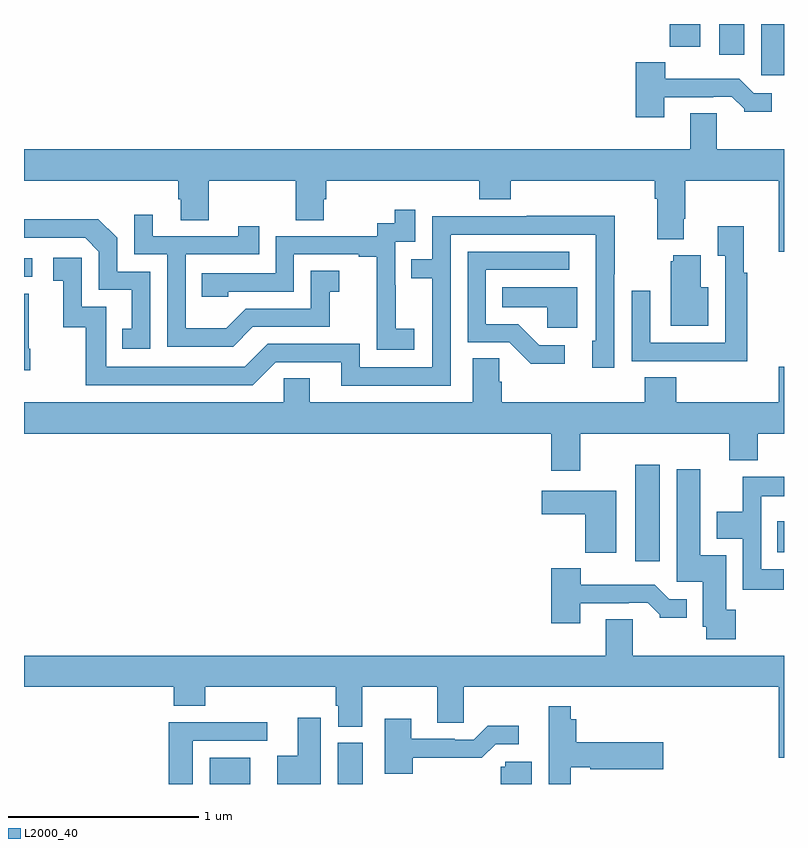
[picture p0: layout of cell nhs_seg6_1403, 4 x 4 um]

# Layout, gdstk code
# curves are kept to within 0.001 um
import gdstk
lib = gdstk.Library(unit=1e-6, precision=1e-09)
def R(c, l, rs):  # rectangles x0, y0, x1, y1
    for r in rs: c.add(gdstk.rectangle(r[:2], r[2:], *l))
def P(c, l, *ps):  # polygons
    for p in ps: c.add(gdstk.Polygon(p, *l))
L2000_40 = (2000, 40)

nhs_seg6_1403 = lib.new_cell('nhs_seg6_1403')
R(nhs_seg6_1403, L2000_40, [(197.978,937.5,198.19,937.639), (198.65,937.5,198.784,937.716), (200.216,938.673,200.347,939.181), (200.965,938.72,201,938.884), (197,940.17,197.044,940.266), (200.879,941.229,201,941.5), (200.66,941.337,200.791,941.5), (200.398,941.381,200.56,941.5)])
P(nhs_seg6_1403, L2000_40, [(200.371,941.115),(200.627,941.115),(200.627,941.118),(200.726,941.118),(200.79,941.054),(200.79,941.039),(200.935,941.039),(200.935,941.136),(200.841,941.136),(200.765,941.212),(200.374,941.212),(200.374,941.299),(200.219,941.299),(200.219,941.01),(200.371,941.01)],
  [(201,940.84),(200.647,940.84),(200.647,941.03),(200.507,941.03),(200.507,940.84),(197,940.84),(197,940.676),(197.813,940.676),(197.813,940.578),(197.825,940.578),(197.825,940.468),(197.973,940.468),(197.973,940.676),(198.43,940.676),(198.43,940.468),(198.577,940.468),(198.577,940.578),(198.59,940.578),(198.59,940.676),(199.397,940.676),(199.397,940.577),(199.562,940.577),(199.562,940.676),(200.321,940.676),(200.321,940.58),(200.333,940.58),(200.333,940.367),(200.473,940.367),(200.473,940.474),(200.481,940.474),(200.481,940.676),(200.972,940.676),(200.972,940.302),(201,940.302)],
  [(199.054,939.895),(198.956,939.895),(198.956,940.124),(198.954,940.124),(198.954,940.353),(199.059,940.353),(199.059,940.522),(198.951,940.522),(198.951,940.452),(198.858,940.452),(198.858,940.383),(198.324,940.383),(198.324,940.188),(197.935,940.188),(197.935,940.065),(198.075,940.065),(198.075,940.092),(198.42,940.092),(198.42,940.287),(198.761,940.287),(198.761,940.275),(198.857,940.275),(198.857,939.991),(198.856,939.991),(198.856,939.785),(199.054,939.785)],
  [(198.205,939.906),(198.609,939.906),(198.609,940.091),(198.658,940.091),(198.658,940.201),(198.51,940.201),(198.51,940.002),(198.168,940.002),(198.064,939.898),(197.85,939.898),(197.85,940.287),(198.239,940.287),(198.239,940.435),(198.128,940.435),(198.128,940.383),(197.677,940.383),(197.677,940.495),(197.58,940.495),(197.58,940.287),(197.754,940.287),(197.754,939.801),(198.1,939.801)],
  [(199.245,940.392),(200.009,940.392),(200.01,939.834),(199.991,939.834),(199.991,939.69),(200.106,939.69),(200.106,940.183),(200.109,940.183),(200.109,940.49),(199.645,940.49),(199.645,940.488),(199.149,940.488),(199.149,940.263),(199.039,940.263),(199.039,940.162),(199.149,940.162),(199.149,939.693),(198.768,939.693),(198.768,939.816),(198.282,939.816),(198.162,939.696),(197.433,939.696),(197.433,940.011),(197.304,940.011),(197.304,940.27),(197.154,940.27),(197.154,940.149),(197.207,940.149),(197.207,939.903),(197.325,939.903),(197.325,939.6),(198.204,939.6),(198.324,939.72),(198.671,939.72),(198.671,939.597),(199.245,939.597)],
  [(197.664,940.197),(197.49,940.197),(197.49,940.374),(197.392,940.472),(197,940.472),(197,940.374),(197.322,940.374),(197.394,940.302),(197.394,940.101),(197.567,940.101),(197.567,939.897),(197.518,939.897),(197.518,939.792),(197.664,939.792)],
  [(200.807,940.19),(200.789,940.19),(200.789,940.435),(200.651,940.435),(200.651,940.279),(200.691,940.279),(200.691,939.822),(200.295,939.822),(200.295,940.096),(200.199,940.096),(200.199,939.726),(200.515,939.726),(200.515,939.725),(200.807,939.725)],
  [(199.846,939.81),(199.711,939.81),(199.6,939.921),(199.431,939.921),(199.431,940.206),(199.87,940.206),(199.87,940.302),(199.335,940.302),(199.335,939.825),(199.554,939.825),(199.667,939.713),(199.846,939.713)],
  [(200.602,940.114),(200.563,940.114),(200.563,940.282),(200.417,940.282),(200.417,940.251),(200.405,940.251),(200.405,939.911),(200.602,939.911)],
  [(199.912,940.114),(199.516,940.114),(199.516,940.01),(199.755,940.01),(199.755,939.902),(199.912,939.902)],
  [(197.034,939.79),(197.026,939.79),(197.026,940.081),(197,940.081),(197,939.678),(197.034,939.678)],
  [(199.927,939.344),(200.711,939.344),(200.711,939.203),(200.863,939.203),(200.863,939.344),(201,939.344),(201,939.697),(200.972,939.697),(200.972,939.508),(200.432,939.508),(200.432,939.641),(200.267,939.641),(200.267,939.508),(199.514,939.508),(199.514,939.617),(199.5,939.617),(199.5,939.74),(199.361,939.74),(199.361,939.508),(198.505,939.508),(198.505,939.635),(198.366,939.635),(198.366,939.508),(197,939.508),(197,939.344),(199.775,939.344),(199.775,939.15),(199.927,939.15)],
  [(200.747,938.418),(200.695,938.418),(200.695,938.704),(200.56,938.704),(200.56,939.157),(200.435,939.157),(200.435,938.565),(200.573,938.565),(200.573,938.328),(200.59,938.328),(200.59,938.262),(200.747,938.262)],
  [(200.998,938.631),(200.88,938.631),(200.88,939.014),(201,939.014),(201,939.118),(200.782,939.118),(200.782,938.932),(200.645,938.932),(200.645,938.792),(200.784,938.792),(200.784,938.523),(200.998,938.523)],
  [(200.116,939.043),(199.725,939.043),(199.725,938.921),(199.954,938.921),(199.954,938.717),(200.116,938.717)],
  [(199.927,938.451),(200.183,938.451),(200.183,938.454),(200.282,938.454),(200.346,938.39),(200.346,938.375),(200.488,938.375),(200.488,938.472),(200.397,938.472),(200.321,938.548),(199.93,938.548),(199.93,938.635),(199.775,938.635),(199.775,938.346),(199.927,938.346)],
  [(201,938.176),(200.203,938.176),(200.203,938.366),(200.063,938.366),(200.063,938.176),(197,938.176),(197,938.012),(197.789,938.012),(197.789,937.913),(197.954,937.913),(197.954,938.012),(198.641,938.012),(198.641,937.911),(198.653,937.911),(198.653,937.801),(198.781,937.801),(198.781,938.012),(199.175,938.012),(199.175,937.822),(199.314,937.822),(199.314,938.012),(200.972,938.012),(200.972,937.638),(201,937.638)],
  [(199.877,937.589),(199.98,937.589),(199.98,937.577),(200.365,937.577),(200.365,937.719),(199.907,937.719),(199.907,937.84),(199.877,937.84),(199.877,937.909),(199.761,937.909),(199.761,937.5),(199.877,937.5)],
  [(198.562,937.849),(198.44,937.849),(198.44,937.648),(198.332,937.648),(198.332,937.5),(198.562,937.5)],
  [(199.047,937.638),(199.409,937.637),(199.482,937.71),(199.603,937.71),(199.603,937.807),(199.441,937.807),(199.368,937.734),(199.268,937.734),(199.268,937.737),(199.039,937.737),(199.039,937.843),(198.899,937.843),(198.899,937.553),(199.047,937.553)],
  [(197.887,937.728),(198.28,937.728),(198.28,937.826),(197.762,937.826),(197.762,937.5),(197.887,937.5)],
  [(199.672,937.617),(199.533,937.617),(199.533,937.59),(199.508,937.59),(199.508,937.5),(199.672,937.5)])

lib.write_gds('nhs_seg6_1403.gds')
